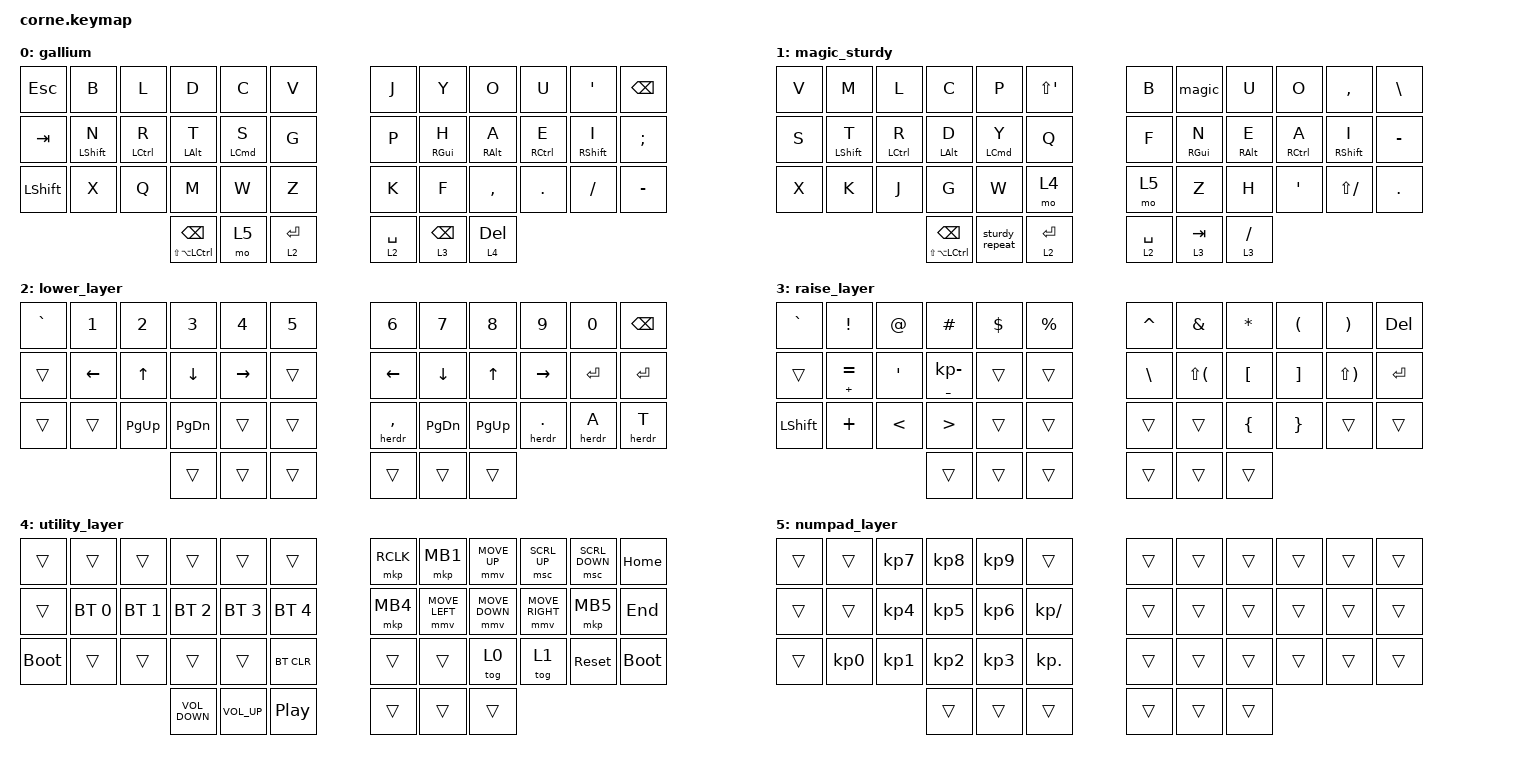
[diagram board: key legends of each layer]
/*
 * Copyright (c) 2020 The ZMK Contributors
 *
 * SPDX-License-Identifier: MIT
 */

#include <behaviors.dtsi>
#include <dt-bindings/zmk/bt.h>
#include <dt-bindings/zmk/keys.h>
#include <dt-bindings/zmk/pointing.h>

#define MAGIC_MARKER F21

/ {
    behaviors {
        Tap_Hold: Tap_Hold {
            compatible = "zmk,behavior-hold-tap";
            label = "TAP_HOLD";
            bindings = <&kp>, <&kp>;

            #binding-cells = <2>;
            flavor = "tap-preferred";
            tapping-term-ms = <200>;
            quick-tap-ms = <125>;
        };

        Tap_Hold_Layer: Tap_Hold_Layer {
            compatible = "zmk,behavior-hold-tap";
            label = "TAP_HOLD_LAYER";
            bindings = <&mo>, <&kp>;

            #binding-cells = <2>;
            tapping-term-ms = <200>;
            flavor = "balanced";
            require-prior-idle-ms = <150>;
            quick-tap-ms = <175>;
        };

        Balanced_Hold_Tap: Balanced_Hold_Tap {
            compatible = "zmk,behavior-hold-tap";
            label = "BALANCED_HOLD_TAP";
            bindings = <&kp>, <&kp>;

            #binding-cells = <2>;
            tapping-term-ms = <200>;
            flavor = "balanced";
            quick-tap-ms = <125>;
        };

        Art_Cycle: Art_Cycle {
            compatible = "zmk,behavior-art-cycle";
            #binding-cells = <0>;
        };

        magic: magic {
            compatible = "zmk,behavior-adaptive-key";
            label = "MAGIC";
            #binding-cells = <0>;

            /*
             * The marker makes a second consecutive Magic press output N.
             * Shifted and unshifted markers are swallowed as dead keys.
             * Unsupported modifier combinations do nothing instead of expanding.
             */

            bindings = <&none>;
            dead-keys = <MAGIC_MARKER LS(MAGIC_MARKER)>;

            after_a {
                trigger-keys = <A LS(A) RS(A)>;
                bindings = <&kp O &kp MAGIC_MARKER>;
                strict-modifiers;
            };

            after_b {
                trigger-keys = <B LS(B) RS(B)>;
                bindings = <&kp E &kp F &kp O &kp R &kp E &kp MAGIC_MARKER>;
                strict-modifiers;
            };

            after_c_d_g_p {
                trigger-keys = <C D G P LS(C) LS(D) LS(G) LS(P) RS(C) RS(D) RS(G) RS(P)>;
                bindings = <&kp Y &kp MAGIC_MARKER>;
                strict-modifiers;
            };

            after_e {
                trigger-keys = <E LS(E) RS(E)>;
                bindings = <&kp U &kp MAGIC_MARKER>;
                strict-modifiers;
            };

            after_i {
                trigger-keys = <I LS(I) RS(I)>;
                bindings = <&kp O &kp N &kp MAGIC_MARKER>;
                strict-modifiers;
            };

            after_j {
                trigger-keys = <J LS(J) RS(J)>;
                bindings = <&kp U &kp S &kp T &kp MAGIC_MARKER>;
                strict-modifiers;
            };

            after_k {
                trigger-keys = <K LS(K) RS(K)>;
                bindings = <&kp S &kp MAGIC_MARKER>;
                strict-modifiers;
            };

            after_l {
                trigger-keys = <L LS(L) RS(L)>;
                bindings = <&kp K &kp MAGIC_MARKER>;
                strict-modifiers;
            };

            after_m {
                trigger-keys = <M LS(M) RS(M)>;
                bindings = <&kp E &kp N &kp T &kp MAGIC_MARKER>;
                strict-modifiers;
            };

            after_n {
                trigger-keys = <N LS(N) RS(N)>;
                bindings = <&kp I &kp O &kp N &kp MAGIC_MARKER>;
                strict-modifiers;
            };

            after_o {
                trigger-keys = <O LS(O) RS(O)>;
                bindings = <&kp A &kp MAGIC_MARKER>;
                strict-modifiers;
            };

            after_r {
                trigger-keys = <R LS(R) RS(R)>;
                bindings = <&kp L &kp MAGIC_MARKER>;
                strict-modifiers;
            };

            after_s {
                trigger-keys = <S LS(S) RS(S)>;
                bindings = <&kp K &kp MAGIC_MARKER>;
                strict-modifiers;
            };

            after_t {
                trigger-keys = <T LS(T) RS(T)>;
                bindings = <&kp M &kp E &kp N &kp T &kp MAGIC_MARKER>;
                strict-modifiers;
            };

            after_u {
                trigger-keys = <U LS(U) RS(U)>;
                bindings = <&kp E &kp MAGIC_MARKER>;
                strict-modifiers;
            };

            after_v {
                trigger-keys = <V LS(V) RS(V)>;
                bindings = <&kp E &kp R &kp MAGIC_MARKER>;
                strict-modifiers;
            };

            after_w {
                trigger-keys = <W LS(W) RS(W)>;
                bindings = <&kp H &kp I &kp C &kp H &kp MAGIC_MARKER>;
                strict-modifiers;
            };

            after_x {
                trigger-keys = <X LS(X) RS(X)>;
                bindings = <&kp E &kp S &kp MAGIC_MARKER>;
                strict-modifiers;
            };

            after_y {
                trigger-keys = <Y LS(Y) RS(Y)>;
                bindings = <&kp P &kp MAGIC_MARKER>;
                strict-modifiers;
            };

            after_comma {
                trigger-keys = <COMMA>;
                bindings = <&kp SPACE &kp B &kp U &kp T &kp MAGIC_MARKER>;
                strict-modifiers;
            };

            after_dot {
                trigger-keys = <DOT>;
                bindings = <&kp BACKSLASH &kp MAGIC_MARKER>;
                strict-modifiers;
            };

            after_shifted_comma_dot {
                trigger-keys = <LS(COMMA) LS(DOT) RS(COMMA) RS(DOT)>;
                bindings = <&kp EQUAL &kp MAGIC_MARKER>;
                strict-modifiers;
            };

            after_minus_equal {
                trigger-keys = <MINUS EQUAL>;
                bindings = <&kp GREATER_THAN &kp MAGIC_MARKER>;
                strict-modifiers;
            };

            after_whitespace {
                trigger-keys = <SPACE TAB RETURN LS(APOS) RS(APOS) LPAR>;
                bindings = <&kp T &kp H &kp E &kp MAGIC_MARKER>;
                strict-modifiers;
            };

            after_magic {
                trigger-keys = <MAGIC_MARKER LS(MAGIC_MARKER)>;
                bindings = <&kp N &kp MAGIC_MARKER>;
                strict-modifiers;
            };
        };

        sturdy_repeat: sturdy_repeat {
            compatible = "zmk,behavior-adaptive-key";
            label = "STURDY_REPEAT";
            #binding-cells = <0>;
            bindings = <&key_repeat>;

            after_a {
                trigger-keys = <A LS(A) RS(A)>;
                bindings = <&kp N &kp D>;
                strict-modifiers;
            };

            after_i {
                trigger-keys = <I LS(I) RS(I)>;
                bindings = <&kp N &kp G>;
                strict-modifiers;
            };

            after_y {
                trigger-keys = <Y LS(Y) RS(Y)>;
                bindings = <&kp O &kp U>;
                strict-modifiers;
            };

            after_n {
                trigger-keys = <N LS(N) RS(N)>;
                bindings = <&kp F>;
                strict-modifiers;
            };

            after_b {
                trigger-keys = <B LS(B) RS(B)>;
                bindings = <&kp E &kp C &kp A &kp U &kp S &kp E>;
                strict-modifiers;
            };

            after_w {
                trigger-keys = <W LS(W) RS(W)>;
                bindings = <&kp O &kp U &kp L &kp D>;
                strict-modifiers;
            };

            after_comma {
                trigger-keys = <COMMA>;
                bindings = <&kp SPACE &kp A &kp N &kp D>;
                strict-modifiers;
            };

            after_dot {
                trigger-keys = <DOT>;
                bindings = <&kp O &kp R &kp G>;
                strict-modifiers;
            };

            after_whitespace {
                trigger-keys = <SPACE TAB RETURN LS(APOS) RS(APOS) LPAR>;
                bindings = <&kp F &kp O &kp R>;
                strict-modifiers;
            };
        };
    };

    combos {
        compatible = "zmk,combos";

        go_to_tmux_tab_1 {
            bindings = <&tmux_tab_1>;
            timeout-ms = <50>;
            key-positions = <38 13>;
            require-prior-idle-ms = <150>;
        };

        go_to_tmux_tab_2 {
            bindings = <&tmux_tab_2>;
            timeout-ms = <50>;
            key-positions = <38 14>;
            require-prior-idle-ms = <150>;
        };

        go_to_tmux_tab_3 {
            bindings = <&tmux_tab_3>;
            timeout-ms = <50>;
            key-positions = <38 15>;
            require-prior-idle-ms = <150>;
        };

        go_to_tmux_tab_4 {
            bindings = <&tmux_tab_4>;
            timeout-ms = <50>;
            key-positions = <38 16>;
            require-prior-idle-ms = <150>;
        };

        go_to_tmux_tab_5 {
            bindings = <&tmux_tab_5>;
            timeout-ms = <50>;
            key-positions = <38 17>;
            require-prior-idle-ms = <150>;
        };

        go_to_tmux_tab_6 {
            bindings = <&tmux_tab_6>;
            timeout-ms = <50>;
            key-positions = <38 25>;
            require-prior-idle-ms = <150>;
        };

        go_to_tmux_tab_7 {
            bindings = <&tmux_tab_7>;
            timeout-ms = <50>;
            key-positions = <26 38>;
            require-prior-idle-ms = <150>;
        };

        go_to_tmux_tab_8 {
            bindings = <&tmux_tab_8>;
            timeout-ms = <50>;
            key-positions = <38 27>;
            require-prior-idle-ms = <150>;
        };

        go_to_tmux_tab_9 {
            bindings = <&tmux_tab_9>;
            timeout-ms = <50>;
            key-positions = <28 38>;
            require-prior-idle-ms = <150>;
        };

        Nvim_Save {
            bindings = <&nvim_save>;
            key-positions = <39 23>;
            require-prior-idle-ms = <150>;
        };

        Arc_Tab_1 {
            bindings = <&kp LC(NUMBER_1)>;
            key-positions = <38 1>;
            require-prior-idle-ms = <150>;
        };

        Arc_Tab_2 {
            bindings = <&kp LC(NUMBER_2)>;
            key-positions = <38 2>;
            require-prior-idle-ms = <150>;
        };

        Screenshot {
            bindings = <&kp LG(DOLLAR)>;
            key-positions = <38 4>;
            require-prior-idle-ms = <150>;
        };

        Area_Screenshot {
            bindings = <&kp LG(PERCENT)>;
            key-positions = <38 5>;
            require-prior-idle-ms = <150>;
        };

        Nvim_Quit {
            bindings = <&nvim_quit>;
            key-positions = <24 38>;
            require-prior-idle-ms = <150>;
        };

        Nvim_Force_Quit {
            bindings = <&nvim_force_quit>;
            key-positions = <40 19 23>;
            slow-release;
            require-prior-idle-ms = <150>;
        };

        Nvim_Discard {
            bindings = <&nvim_discard>;
            key-positions = <40 21 23>;
            require-prior-idle-ms = <250>;
        };

        Nvim_Save_All {
            bindings = <&nvim_save_all>;
            key-positions = <40 20 23>;
            slow-release;
            require-prior-idle-ms = <150>;
        };

        Caps_Word {
            bindings = <&caps_word>;
            key-positions = <28 31>;
        };

        Arrow_Function {
            bindings = <&arrow_function>;
            key-positions = <33 13>;
        };

        Copy {
            bindings = <&kp LG(C)>;
            key-positions = <26 27>;
        };

        Cut {
            bindings = <&kp LG(X)>;
            key-positions = <25 26>;
        };

        Paste {
            bindings = <&kp LG(V)>;
            key-positions = <27 28>;
        };

        AltLeft {
            bindings = <&kp LA(LEFT)>;
            key-positions = <7 20>;
        };

        AltRight {
            bindings = <&kp LA(RIGHT)>;
            key-positions = <9 20>;
        };

        CmdRight {
            bindings = <&kp LG(RIGHT)>;
            key-positions = <9 19>;
        };

        CmdLeft {
            bindings = <&kp LG(LEFT)>;
            key-positions = <7 21>;
        };

        Undo {
            bindings = <&kp LG(Z)>;
            key-positions = <25 26 27>;
        };

        Redo {
            bindings = <&kp LS(LG(Z))>;
            key-positions = <26 27 28>;
        };

        Escape {
            bindings = <&kp ESCAPE>;
            key-positions = <13 14>;
        };
    };

    macros {
        herdr: herdr {
            compatible = "zmk,behavior-macro-one-param";
            #binding-cells = <1>;
            bindings = <&kp LC(RBKT) &macro_param_1to1 &kp MACRO_PLACEHOLDER>;
            label = "HERDR";
        };

        tmux_tab_1: tmux_tab_1 {
            compatible = "zmk,behavior-macro";
            #binding-cells = <0>;
            bindings = <&kp LC(Q) &kp NUMBER_1>;
        };

        tmux_tab_2: tmux_tab_2 {
            compatible = "zmk,behavior-macro";
            #binding-cells = <0>;
            bindings = <&kp LC(Q) &kp NUMBER_2>;
        };

        tmux_tab_3: tmux_tab_3 {
            compatible = "zmk,behavior-macro";
            #binding-cells = <0>;
            bindings = <&kp LC(Q) &kp NUMBER_3>;
        };

        tmux_tab_4: tmux_tab_4 {
            compatible = "zmk,behavior-macro";
            #binding-cells = <0>;
            bindings = <&kp LC(Q) &kp NUMBER_4>;
        };

        tmux_tab_5: tmux_tab_5 {
            compatible = "zmk,behavior-macro";
            #binding-cells = <0>;
            bindings = <&kp LC(Q) &kp N5>;
        };

        tmux_tab_6: tmux_tab_6 {
            compatible = "zmk,behavior-macro";
            #binding-cells = <0>;
            bindings = <&kp LC(Q) &kp NUMBER_6>;
        };

        tmux_tab_7: tmux_tab_7 {
            compatible = "zmk,behavior-macro";
            #binding-cells = <0>;
            bindings = <&kp LC(Q) &kp N7>;
        };

        tmux_tab_8: tmux_tab_8 {
            compatible = "zmk,behavior-macro";
            #binding-cells = <0>;
            bindings = <&kp LC(Q) &kp N8>;
        };

        tmux_tab_9: tmux_tab_9 {
            compatible = "zmk,behavior-macro";
            #binding-cells = <0>;
            bindings = <&kp LC(Q) &kp N9>;
        };

        nvim_save: nvim_save {
            compatible = "zmk,behavior-macro";
            #binding-cells = <0>;
            bindings = <&kp ESCAPE &kp COLON &kp W &kp ENTER>;
            label = "NVIM_SAVE";
        };

        nvim_discard: nvim_discard {
            compatible = "zmk,behavior-macro";
            #binding-cells = <0>;
            bindings = <&kp COLON &kp E &kp EXCLAMATION &kp ENTER>;
            label = "NVIM_DISCARD";
            wait-ms = <0>;
        };

        nvim_quit: nvim_quit {
            compatible = "zmk,behavior-macro";
            #binding-cells = <0>;
            bindings = <&kp COLON &kp Q &kp ENTER>;
            label = "NVIM_QUIT";
        };

        nvim_force_quit: nvim_force_quit {
            compatible = "zmk,behavior-macro";
            #binding-cells = <0>;
            bindings = <&kp ESCAPE &kp COLON &kp Q &kp A &kp ENTER>;
            label = "NVIM_FORCE_QUIT";
        };

        nvim_save_all: nvim_save_all {
            compatible = "zmk,behavior-macro";
            #binding-cells = <0>;
            bindings = <&kp ESCAPE &kp COLON &kp W &kp A &kp ENTER>;
            label = "NVIM_SAVE_ALL";
        };

        arrow_function: arrow_function {
            compatible = "zmk,behavior-macro";
            #binding-cells = <0>;
            bindings = <&kp EQUAL &kp GT &kp SPACE>;
            label = "ARROW_FUNCTION";
        };
    };

    keymap {
        compatible = "zmk,keymap";

        gallium {
            // -----------------------------------------------------------------------------------------
            // |  TAB |  Q  |  W  |  E  |  R  |  T  |   |  Y  |  U   |  I  |  O  |  P  | BKSP |
            // | CTRL |  A  |  S  |  D  |  F  |  G  |   |  H  |  J   |  K  |  L  |  ;  |  '   |
            // | SHFT |  Z  |  X  |  C  |  V  |  B  |   |  N  |  M   |  ,  |  .  |  /  | ESC  |
            //                    | GUI | LWR | SPC |   | ENT | RSE  | ALT |

            bindings = <
&kp ESCAPE      &kp B                            &kp L              &kp D                              &kp C                     &kp V                       &kp J                    &kp Y                  &kp O                  &kp U              &kp APOS                          &kp BSPC
&kp TAB         &Balanced_Hold_Tap LEFT_SHIFT N  &Tap_Hold LCTRL R  &Tap_Hold LEFT_ALT T               &Tap_Hold LEFT_COMMAND S  &kp G                       &kp P                    &Tap_Hold RIGHT_GUI H  &Tap_Hold RIGHT_ALT A  &Tap_Hold RCTRL E  &Balanced_Hold_Tap RIGHT_SHIFT I  &kp SEMI
&kp LEFT_SHIFT  &kp X                            &kp Q              &kp M                              &kp W                     &kp Z                       &kp K                    &kp F                  &kp COMMA              &kp DOT            &kp FSLH                          &kp MINUS
                                                                    &Tap_Hold LS(LA(LCTRL)) BACKSPACE  &mo 5                     &Tap_Hold_Layer 2 RETURN    &Tap_Hold_Layer 2 SPACE  &lt 3 BACKSPACE        &lt 4 DEL
            >;
        };

        magic_sturdy {
            // -----------------------------------------------------------------------------------------
            // |  V  |  M  |  L  |  C  |  P  |  "  |   |  B  | MAGIC |  U  |  O  |  ,  |  \\   |
            // |  S  | T/S | R/C | D/A | Y/G |  Q  |   |  F  |  N/G  | E/A | A/C | I/S |  -   |
            // |  X  |  K  |  J  |  G  |  W  | UTIL|   | NUM |   Z   |  H  |  '  |  ?  |  .   |
            //                    | BSPC | REPEAT | RET/LWR |   | SPC/LWR | TAB/RSE | SLSH/RSE |

            bindings = <
&kp V  &kp M                            &kp L              &kp C                              &kp P                     &kp LS(APOS)                &kp B                    &magic                 &kp U                   &kp O              &kp COMMA                         &kp BACKSLASH
&kp S  &Balanced_Hold_Tap LEFT_SHIFT T  &Tap_Hold LCTRL R  &Tap_Hold LEFT_ALT D               &Tap_Hold LEFT_COMMAND Y  &kp Q                       &kp F                    &Tap_Hold RIGHT_GUI N  &Tap_Hold RIGHT_ALT E   &Tap_Hold RCTRL A  &Balanced_Hold_Tap RIGHT_SHIFT I  &kp MINUS
&kp X  &kp K                            &kp J              &kp G                              &kp W                     &mo 4                       &mo 5                    &kp Z                  &kp H                   &kp APOS           &kp LS(FSLH)                      &kp DOT
                                                           &Tap_Hold LS(LA(LCTRL)) BACKSPACE  &sturdy_repeat            &Tap_Hold_Layer 2 RETURN    &Tap_Hold_Layer 2 SPACE  &Tap_Hold_Layer 3 TAB  &Tap_Hold_Layer 3 FSLH
            >;
        };

        lower_layer {
            // -----------------------------------------------------------------------------------------
            // |  TAB |  1  |  2  |  3  |  4  |  5  |   |  6  |  7  |  8  |  9  |  0  | BKSP |
            // | BTCLR| BT1 | BT2 | BT3 | BT4 | BT5 |   | LFT | DWN |  UP | RGT |     |      |
            // | SHFT |     |     |     |     |     |   |     |     |     |     |     |      |
            //                    | GUI |     | SPC |   | ENT |     | ALT |

            bindings = <
&kp GRAVE  &kp N1    &kp N2       &kp N3         &kp N4     &kp N5    &kp N6        &kp N7         &kp N8       &kp N9      &kp N0     &kp BSPC
&trans     &kp LEFT  &kp UP       &kp DOWN       &kp RIGHT  &trans    &kp LEFT      &kp DOWN       &kp UP       &kp RIGHT   &kp ENTER  &kp ENTER
&trans     &trans    &kp PAGE_UP  &kp PAGE_DOWN  &trans     &trans    &herdr COMMA  &kp PAGE_DOWN  &kp PAGE_UP  &herdr DOT  &herdr A   &herdr T
                                  &trans         &trans     &trans    &trans        &trans         &trans
            >;
        };

        raise_layer {
            // -----------------------------------------------------------------------------------------
            // |  TAB |  !  |  @  |  #  |  $  |  %  |   |  ^  |  &  |  *  |  (  |  )  | BKSP |
            // | CTRL |     |     |     |     |     |   |  -  |  =  |  [  |  ]  |  \  |  `   |
            // | SHFT |     |     |     |     |     |   |  _  |  +  |  {  |  }  | "|" |  ~   |
            //                    | GUI |     | SPC |   | ENT |     | ALT |

            bindings = <
&kp GRAVE  &kp EXCL              &kp AT         &kp HASH                  &kp DLLR  &kp PRCNT    &kp CARET      &kp AMPS      &kp ASTRK       &kp LPAR         &kp RPAR      &kp DELETE
&trans     &Tap_Hold PLUS EQUAL  &kp SQT        &Tap_Hold UNDER KP_MINUS  &trans    &trans       &kp BACKSLASH  &kp LS(LPAR)  &kp LBKT        &kp RBKT         &kp LS(RPAR)  &kp RET
&kp LSHFT  &kp PLUS              &kp LESS_THAN  &kp GREATER_THAN          &trans    &trans       &trans         &trans        &kp LEFT_BRACE  &kp RIGHT_BRACE  &trans        &trans
                                                &trans                    &trans    &trans       &trans         &trans        &trans
            >;
        };

        utility_layer {
            bindings = <
&trans       &trans        &trans        &trans             &trans           &trans              &mkp RCLK  &mkp MB1        &mmv MOVE_UP    &msc SCRL_UP     &msc SCRL_DOWN  &kp HOME
&trans       &bt BT_SEL 0  &bt BT_SEL 1  &bt BT_SEL 2       &bt BT_SEL 3     &bt BT_SEL 4        &mkp MB4   &mmv MOVE_LEFT  &mmv MOVE_DOWN  &mmv MOVE_RIGHT  &mkp MB5        &kp END
&bootloader  &trans        &trans        &trans             &trans           &bt BT_CLR          &trans     &trans          &tog 0          &tog 1           &sys_reset      &bootloader
                                         &kp C_VOLUME_DOWN  &kp C_VOLUME_UP  &kp C_PLAY_PAUSE    &trans     &trans          &trans
            >;
        };

        numpad_layer {
            bindings = <
&trans  &trans           &kp KP_NUMBER_7  &kp KP_NUMBER_8  &kp KP_NUMBER_9  &trans          &trans  &trans  &trans  &trans  &trans  &trans
&trans  &trans           &kp KP_NUMBER_4  &kp KP_NUMBER_5  &kp KP_NUMBER_6  &kp KP_SLASH    &trans  &trans  &trans  &trans  &trans  &trans
&trans  &kp KP_NUMBER_0  &kp KP_NUMBER_1  &kp KP_NUMBER_2  &kp KP_NUMBER_3  &kp KP_DOT      &trans  &trans  &trans  &trans  &trans  &trans
                                          &trans           &trans           &trans          &trans  &trans  &trans
            >;
        };
    };
};
